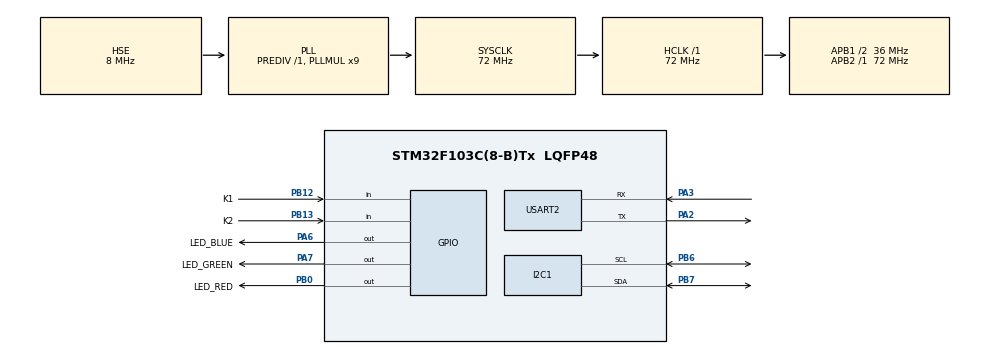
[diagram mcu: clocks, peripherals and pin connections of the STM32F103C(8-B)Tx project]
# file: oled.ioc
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I2C1.I2C_Mode=I2C_Fast
Mcu.Family=STM32F1
Mcu.Name=STM32F103C(8-B)Tx
Mcu.Package=LQFP48
NVIC.PriorityGroup=NVIC_PRIORITYGROUP_4
NVIC.USART2_IRQn=true\:0\:0\:false\:false\:true\:true\:true\:true
PA13.Mode=Serial_Wire
PA13.Signal=SYS_JTMS-SWDIO
PA14.Mode=Serial_Wire
PA14.Signal=SYS_JTCK-SWCLK
PA2.Mode=Asynchronous
PA2.Signal=USART2_TX
PA3.Mode=Asynchronous
PA3.Signal=USART2_RX
PA6.GPIO_Label=LED_BLUE
PA6.Signal=GPIO_Output
PA7.GPIO_Label=LED_GREEN
PA7.Signal=GPIO_Output
PB0.GPIO_Label=LED_RED
PB0.Signal=GPIO_Output
PB12.GPIO_Label=K1
PB12.Signal=GPIO_Input
PB13.GPIO_Label=K2
PB13.GPIO_PuPd=GPIO_PULLUP
PB13.Signal=GPIO_Input
PB6.Mode=I2C
PB6.Signal=I2C1_SCL
PB7.Mode=I2C
PB7.Signal=I2C1_SDA
PD0-OSC_IN.Mode=HSE-External-Oscillator
PD0-OSC_IN.Signal=RCC_OSC_IN
PD1-OSC_OUT.Mode=HSE-External-Oscillator
PD1-OSC_OUT.Signal=RCC_OSC_OUT
ProjectManager.HeapSize=0x200
ProjectManager.StackSize=0x400
ProjectManager.TargetToolchain=MDK-ARM V5.32
RCC.AHBFreq_Value=72000000
RCC.APB1CLKDivider=RCC_HCLK_DIV2
RCC.APB1Freq_Value=36000000
RCC.APB1TimFreq_Value=72000000
RCC.APB2Freq_Value=72000000
RCC.APB2TimFreq_Value=72000000
RCC.HCLKFreq_Value=72000000
RCC.PLLMUL=RCC_PLL_MUL9
RCC.PLLSourceVirtual=RCC_PLLSOURCE_HSE
RCC.SYSCLKFreq_VALUE=72000000
RCC.SYSCLKSource=RCC_SYSCLKSOURCE_PLLCLK
RCC.USBFreq_Value=72000000
USART2.VirtualMode=VM_ASYNC
board=custom

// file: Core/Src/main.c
/* USER CODE BEGIN Header */
/**
  ******************************************************************************
  * @file           : main.c
  * @brief          : Main program body
  ******************************************************************************
  * @attention
  *
  * Copyright (c) 2025 STMicroelectronics.
  * All rights reserved.
  *
  * This software is licensed under terms that can be found in the LICENSE file
  * in the root directory of this software component.
  * If no LICENSE file comes with this software, it is provided AS-IS.
  *
  ******************************************************************************
  */
/* USER CODE END Header */
#include "main.h"
#include "i2c.h"
#include "usart.h"
#include "gpio.h"

/* USER CODE BEGIN Includes */
#include "my_function.h"
#include "oled.h"
#include "font.h"
#include "aht20.h"
#include "string.h"
#include "stdio.h"
/* USER CODE END Includes */

void SystemClock_Config(void);

int main(void)
{

  /* MCU Configuration--------------------------------------------------------*/

  /* Reset of all peripherals, Initializes the Flash interface and the Systick. */
  HAL_Init();

  /* Configure the system clock */
  SystemClock_Config();

  /* Initialize all configured peripherals */
  MX_GPIO_Init();
  MX_I2C1_Init();
  MX_USART2_UART_Init();
  /* USER CODE BEGIN 2 */
  HAL_Delay(20);
  OLED_Init();
  AHT20_Init();
  float tempreture,humidity;
  char message[50];
  /* USER CODE END 2 */

  /* Infinite loop */
  /* USER CODE BEGIN WHILE */
  while (1)
  {
    AHT20_Measure();
    tempreture=AHT20_Temperature();
    humidity=AHT20_Humidity();
    OLED_NewFrame();
    OLED_DrawImage(0,0,&tempretureImg,OLED_COLOR_NORMAL);
    sprintf(message,"温度: %.1f℃",tempreture);
    OLED_PrintString(30,8,message,&font16x16,OLED_COLOR_NORMAL);
    OLED_DrawImage(0,32,&humidityImg,OLED_COLOR_NORMAL);
    sprintf(message,"湿度: %.1f%%",humidity);
    OLED_PrintString(30,40,message,&font16x16,OLED_COLOR_NORMAL);
    OLED_ShowFrame();
    HAL_Delay(1000);
    /* USER CODE END WHILE */

  }
}

void SystemClock_Config(void)
{
  RCC_OscInitTypeDef RCC_OscInitStruct = {0};
  RCC_ClkInitTypeDef RCC_ClkInitStruct = {0};

  /** Initializes the RCC Oscillators according to the specified parameters
  * in the RCC_OscInitTypeDef structure.
  */
  RCC_OscInitStruct.OscillatorType = RCC_OSCILLATORTYPE_HSE;
  RCC_OscInitStruct.HSEState = RCC_HSE_ON;
  RCC_OscInitStruct.HSEPredivValue = RCC_HSE_PREDIV_DIV1;
  RCC_OscInitStruct.HSIState = RCC_HSI_ON;
  RCC_OscInitStruct.PLL.PLLState = RCC_PLL_ON;
  RCC_OscInitStruct.PLL.PLLSource = RCC_PLLSOURCE_HSE;
  RCC_OscInitStruct.PLL.PLLMUL = RCC_PLL_MUL9;
  if (HAL_RCC_OscConfig(&RCC_OscInitStruct) != HAL_OK)
  {
    Error_Handler();
  }

  /** Initializes the CPU, AHB and APB buses clocks
  */
  RCC_ClkInitStruct.ClockType = RCC_CLOCKTYPE_HCLK|RCC_CLOCKTYPE_SYSCLK
                              |RCC_CLOCKTYPE_PCLK1|RCC_CLOCKTYPE_PCLK2;
  RCC_ClkInitStruct.SYSCLKSource = RCC_SYSCLKSOURCE_PLLCLK;
  RCC_ClkInitStruct.AHBCLKDivider = RCC_SYSCLK_DIV1;
  RCC_ClkInitStruct.APB1CLKDivider = RCC_HCLK_DIV2;
  RCC_ClkInitStruct.APB2CLKDivider = RCC_HCLK_DIV1;

  if (HAL_RCC_ClockConfig(&RCC_ClkInitStruct, FLASH_LATENCY_2) != HAL_OK)
  {
    Error_Handler();
  }
}

void Error_Handler(void)
{
  __disable_irq();
  while (1)
  {
  }
}
